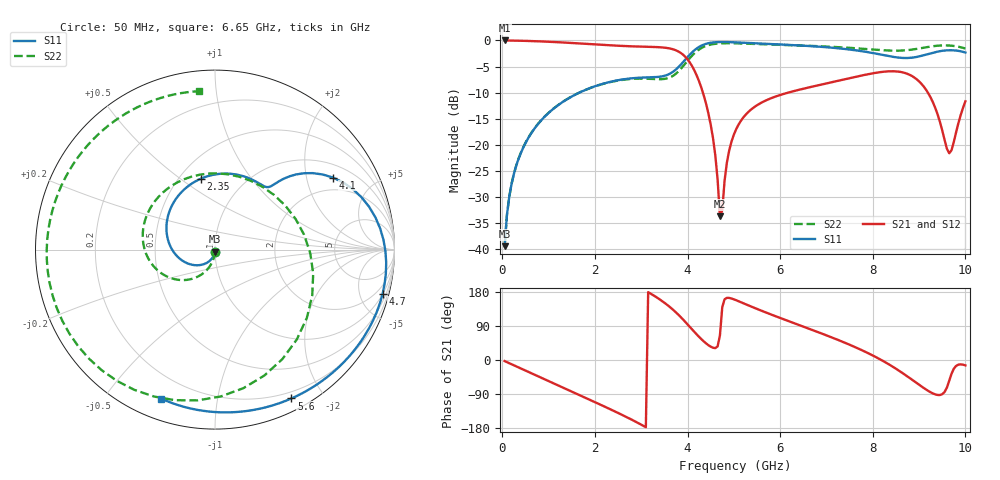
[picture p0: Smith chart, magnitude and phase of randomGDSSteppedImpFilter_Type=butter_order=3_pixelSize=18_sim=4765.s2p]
! freq	dB(S11)	phase(S11)	dB(S12)	phase(S12)
!  dB(S21)	phase(S21)	dB(S22)	phase(S22)
!S-par simulation data
#  GHz  S  DB  R 50
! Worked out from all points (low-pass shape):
!   200 points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, 50 MHz to 10 GHz, reference 50 ohm
!   highest |S21| = -0.01 dB at 50 MHz (marker M1); lowest = -33.7 dB at 4.7 GHz (marker M2)
!   |S21| within 3 dB of the highest: start of sweep to 3.936 GHz
!   lowest |S11| = -39.4 dB at 50 MHz (marker M3), VSWR 1.02, Z = 49.9 - j1.07 ohm
!   |S11| at or under -10 dB: start of sweep to 1.664 GHz
!   |S22| runs from -39.4 to -0.5 dB; largest |S21 - S12| = 0
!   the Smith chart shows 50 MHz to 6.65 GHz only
!   S11 on the Smith chart (normalised r, x): 50 MHz: 1.00, -0.02; 2.35 GHz: 0.63, +0.60; 4.1 GHz: 1.46, +2.88; 4.7 GHz: 1.03, -7.54; 5.6 GHz: 0.13, -1.63; 6.65 GHz: 0.09, -0.70
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0.05  -39.42 -92.8  -0.01 -2.8  -0.01 -2.8  -39.40 -90.7
0.2  -27.51 -105.1  -0.03 -11.2  -0.03 -11.2  -27.48 -97.3
0.5  -19.67 -128.1  -0.09 -27.9  -0.09 -27.9  -19.64 -108.6
1.15  -12.77 -176.3  -0.32 -63.9  -0.32 -63.9  -12.75 -133.0
1.75  -9.65 141.1  -0.62 -97.2  -0.62 -97.2  -9.66 -156.9
2.35  -7.90 101.4  -0.95 -131.0  -0.95 -131.0  -7.94 175.2
3.4  -6.96 51.3  -1.31 159.9  -1.31 159.9  -7.43 87.6
3.85  -4.68 44.5  -2.37 113.7  -2.37 113.7  -5.50 -2.1
4.1  -2.27 31.4  -4.95 80.5  -4.95 80.5  -2.90 -58.4
4.3  -1.00 15.4  -9.11 54.8  -9.11 54.8  -1.46 -96.6
4.5  -0.45 -0.6  -16.12 35.2  -16.12 35.2  -0.79 -126.7
4.7  -0.30 -14.8  -33.73 65.2  -33.73 65.2  -0.57 -150.0
5.05  -0.37 -35.7  -17.01 157.8  -17.01 157.8  -0.56 180.0
5.6  -0.61 -62.9  -11.90 129.8  -11.90 129.8  -0.72 146.1
6.65  -1.08 -109.9  -8.94 81.3  -8.94 81.3  -1.04 95.6
6.7  -1.11 -112.2  -8.84 79.0  -8.84 79.0  -1.06 93.4
7.7  -1.98 -167.3  -6.84 29.5  -6.84 29.5  -1.54 49.6
8.35  -3.01 133.8  -5.92 -11.6  -5.92 -11.6  -1.94 23.7
8.8  -3.35 69.5  -6.60 -47.8  -6.60 -47.8  -1.81 7.4
9.2  -2.59 2.8  -10.15 -81.7  -10.15 -81.7  -1.24 -9.9
9.65  -1.88 -62.4  -21.61 -55.2  -21.61 -55.2  -0.98 -35.2
10  -2.33 -105.3  -11.67 -14.2  -11.67 -14.2  -1.56 -56.9
